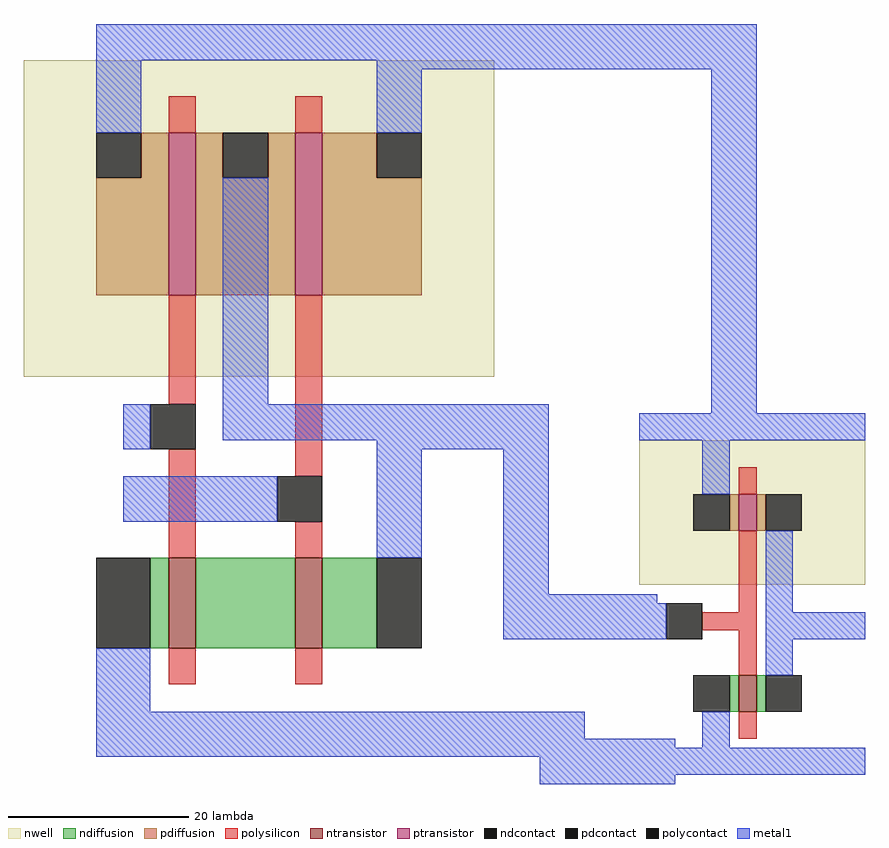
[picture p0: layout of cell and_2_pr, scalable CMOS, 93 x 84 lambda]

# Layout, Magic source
magic
tech scmos
<< metal1 >>
rect -18 78 24 83
rect -18 36 1 41
rect 19 38 24 78
rect -4 20 1 36
rect -4 15 13 20
rect -18 4 5 7
rect -18 2 15 4
rect 0 -1 15 2
use nand_unlab_pr  nand_unlab_pr_0
transform 1 0 -33 0 1 53
box -24 -51 28 30
use inverter_unlab_pr  inverter_unlab_pr_0
transform 1 0 20 0 1 20
box -9 -20 16 20
<< end >>

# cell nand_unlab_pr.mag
magic
tech scmos
<< nwell >>
rect -24 -9 28 26
<< ntransistor >>
rect -8 -39 -5 -29
rect 6 -39 9 -29
<< ptransistor >>
rect -8 0 -5 18
rect 6 0 9 18
<< ndiffusion >>
rect -10 -39 -8 -29
rect -5 -39 6 -29
rect 9 -39 15 -29
<< pdiffusion >>
rect -11 13 -8 18
rect -16 0 -8 13
rect -5 13 -2 18
rect 3 13 6 18
rect -5 0 6 13
rect 9 13 15 18
rect 9 0 20 13
<< ndcontact >>
rect -16 -39 -10 -29
rect 15 -39 20 -29
<< pdcontact >>
rect -16 13 -11 18
rect -2 13 3 18
rect 15 13 20 18
<< polysilicon >>
rect -8 18 -5 22
rect 6 18 9 22
rect -8 -12 -5 0
rect -8 -29 -5 -17
rect 6 -20 9 0
rect 6 -29 9 -25
rect -8 -43 -5 -39
rect 6 -43 9 -39
<< polycontact >>
rect -10 -17 -5 -12
rect 4 -25 9 -20
<< metal1 >>
rect -16 26 20 30
rect -16 18 -11 26
rect 15 18 20 26
rect -2 -12 3 13
rect -13 -17 -10 -12
rect -2 -16 20 -12
rect -13 -25 4 -20
rect 15 -29 20 -16
rect -16 -46 -10 -39
rect -16 -51 20 -46
<< end >>

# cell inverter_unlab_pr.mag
magic
tech scmos
<< nwell >>
rect -9 1 16 17
<< ntransistor >>
rect 2 -13 4 -9
<< ptransistor >>
rect 2 7 4 11
<< ndiffusion >>
rect 1 -13 2 -9
rect 4 -13 5 -9
<< pdiffusion >>
rect 1 7 2 11
rect 4 7 5 11
<< ndcontact >>
rect -3 -13 1 -9
rect 5 -13 9 -9
<< pdcontact >>
rect -3 7 1 11
rect 5 7 9 11
<< polysilicon >>
rect 2 11 4 14
rect 2 -2 4 7
rect -2 -4 4 -2
rect 2 -9 4 -4
rect 2 -16 4 -13
<< polycontact >>
rect -6 -5 -2 -1
<< metal1 >>
rect -9 17 16 20
rect -2 11 1 17
rect -8 -5 -6 -1
rect 5 -2 8 7
rect 5 -5 16 -2
rect 5 -9 8 -5
rect -2 -17 1 -13
rect -9 -20 16 -17
<< end >>
